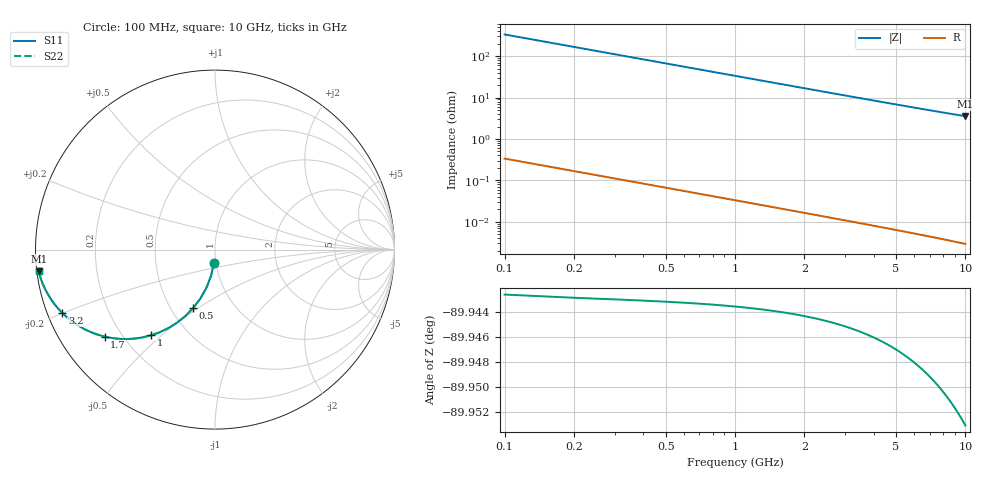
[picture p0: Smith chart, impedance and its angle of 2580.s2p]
# Hz S RI R 50.00
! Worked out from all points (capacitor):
!   100 points, 100 MHz to 10 GHz, reference 50 ohm
!   read as one part in shunt: C = 4.75 pF near 100 MHz
!   lowest |Z| = 3.55 ohm at 10 GHz (marker M1)
!   S11 on the Smith chart (normalised r, x): 100 MHz: 0.98, -0.15; 500 MHz: 0.64, -0.48; 1 GHz: 0.31, -0.46; 1.7 GHz: 0.14, -0.34; 3.2 GHz: 0.04, -0.20; 10 GHz: 0.01, -0.06
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1e8  -0.00558 -0.074  0.9944 -0.0742  0.9944 -0.0742  -0.00558 -0.074
2e8  -0.0219 -0.1456  0.9781 -0.146  0.9781 -0.146  -0.0219 -0.1456
3e8  -0.0478 -0.2126  0.9522 -0.2131  0.9522 -0.2131  -0.0478 -0.2126
4e8  -0.0818 -0.2733  0.9181 -0.274  0.9181 -0.274  -0.0818 -0.2733
5e8  -0.1221 -0.3266  0.8778 -0.3274  0.8778 -0.3274  -0.1221 -0.3266
6e8  -0.1668 -0.3718  0.8331 -0.3729  0.8331 -0.3729  -0.1668 -0.3718
7e8  -0.2141 -0.4091  0.7859 -0.4103  0.7859 -0.4103  -0.2141 -0.4091
8e8  -0.2623 -0.4387  0.7376 -0.4401  0.7376 -0.4401  -0.2623 -0.4387
1e9  -0.357 -0.4778  0.643 -0.4795  0.643 -0.4795  -0.357 -0.4778
1.3e9  -0.4838 -0.4981  0.5161 -0.5003  0.5161 -0.5003  -0.4838 -0.4981
1.7e9  -0.6155 -0.4845  0.3844 -0.4874  0.3844 -0.4874  -0.6155 -0.4845
1.8e9  -0.6421 -0.4773  0.3578 -0.4804  0.3578 -0.4804  -0.6421 -0.4773
2.1e9  -0.7093 -0.4518  0.2907 -0.4554  0.2907 -0.4554  -0.7093 -0.4518
2.4e9  -0.761 -0.4239  0.2389 -0.428  0.2389 -0.428  -0.761 -0.4239
2.8e9  -0.8124 -0.3875  0.1876 -0.3923  0.1876 -0.3923  -0.8124 -0.3875
3.2e9  -0.8496 -0.3541  0.1503 -0.3596  0.1503 -0.3596  -0.8496 -0.3541
3.4e9  -0.8645 -0.3388  0.1355 -0.3447  0.1355 -0.3447  -0.8645 -0.3388
4.2e9  -0.9067 -0.2866  0.0932 -0.2939  0.0932 -0.2939  -0.9067 -0.2866
5.1e9  -0.9348 -0.2419  0.0651 -0.2508  0.0651 -0.2508  -0.9348 -0.2419
6.7e9  -0.9612 -0.1866  0.0387 -0.1984  0.0387 -0.1984  -0.9612 -0.1866
8.4e9  -0.975 -0.1478  0.0248 -0.1627  0.0248 -0.1627  -0.975 -0.1478
1e10  -0.9824 -0.1218  0.0174 -0.1397  0.0174 -0.1397  -0.9824 -0.1218
